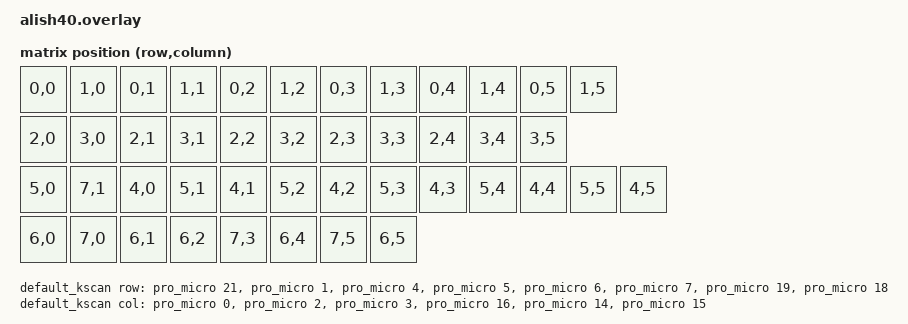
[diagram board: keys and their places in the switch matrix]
#include <dt-bindings/zmk/matrix_transform.h>

/ {
	chosen {
		zmk,kscan = &default_kscan;
		zmk,matrix_transform = &default_transform;
	};

	default_kscan: kscan {
		compatible = "zmk,kscan-gpio-matrix";
		label = "default_kcsan";
		diode-direction = "col2row";

		row-gpios = <&pro_micro 21  (GPIO_ACTIVE_HIGH | GPIO_PULL_DOWN)>
			     , <&pro_micro 1 (GPIO_ACTIVE_HIGH | GPIO_PULL_DOWN)>
		         , <&pro_micro 4 (GPIO_ACTIVE_HIGH | GPIO_PULL_DOWN)>
				 , <&pro_micro 5 (GPIO_ACTIVE_HIGH | GPIO_PULL_DOWN)>
				 , <&pro_micro 6 (GPIO_ACTIVE_HIGH | GPIO_PULL_DOWN)>
				 , <&pro_micro 7 (GPIO_ACTIVE_HIGH | GPIO_PULL_DOWN)>
				 , <&pro_micro 19 (GPIO_ACTIVE_HIGH | GPIO_PULL_DOWN)>
				 , <&pro_micro 18 (GPIO_ACTIVE_HIGH | GPIO_PULL_DOWN)>;
			
		col-gpios = <&pro_micro 0  GPIO_ACTIVE_HIGH>
			    , <&pro_micro 2  GPIO_ACTIVE_HIGH>
			    , <&pro_micro 3  GPIO_ACTIVE_HIGH>
				, <&pro_micro 16  GPIO_ACTIVE_HIGH>
				, <&pro_micro 14  GPIO_ACTIVE_HIGH>
				, <&pro_micro 15  GPIO_ACTIVE_HIGH>;
	};

    default_transform: matrix_transform {
        compatible = "zmk,matrix-transform";
        rows = <8>;
        columns = <6>;

        map = <
            RC(0,0) RC(1,0) RC(0,1) RC(1,1) RC(0,2) RC(1,2) RC(0,3) RC(1,3) RC(0,4) RC(1,4) RC(0,5) RC(1,5)
			RC(2,0) RC(3,0) RC(2,1) RC(3,1) RC(2,2) RC(3,2) RC(2,3) RC(3,3) RC(2,4) RC(3,4) RC(3,5)
			RC(5,0) RC(7,1) RC(4,0) RC(5,1) RC(4,1) RC(5,2) RC(4,2) RC(5,3) RC(4,3) RC(5,4) RC(4,4) RC(5,5) RC(4,5)
			RC(6,0) RC(7,0) RC(6,1) RC(6,2) RC(7,3) RC(6,4) RC(7,5) RC(6,5)
	>;
		};
	&pinctrl {
    spi0_default: spi0_default {
        group1 {
            psels = <NRF_PSEL(SPIM_SCK, 1, 2)>,
                <NRF_PSEL(SPIM_MOSI, 1, 7)>,
                <NRF_PSEL(SPIM_MISO, 0, 19)>; /* GPIO0 19 is not broken on a nice!nano.*/
        };
    };
    spi0_sleep: spi0_sleep {
        group1 {
            psels = <NRF_PSEL(SPIM_SCK, 1, 2)>,
                <NRF_PSEL(SPIM_MOSI, 1, 7)>,
                <NRF_PSEL(SPIM_MISO, 0, 19)>; /* GPIO0 19 is not broken on a nice!nano.*/
            low-power-enable;
        };
    };
};


nice_view_spi: &spi0 {
    compatible = "nordic,nrf-spim";
    pinctrl-0 = <&spi0_default>;
    pinctrl-1 = <&spi0_sleep>;
    pinctrl-names = "default", "sleep";
    cs-gpios = <&gpio1 1 GPIO_ACTIVE_HIGH>;
};
};      
